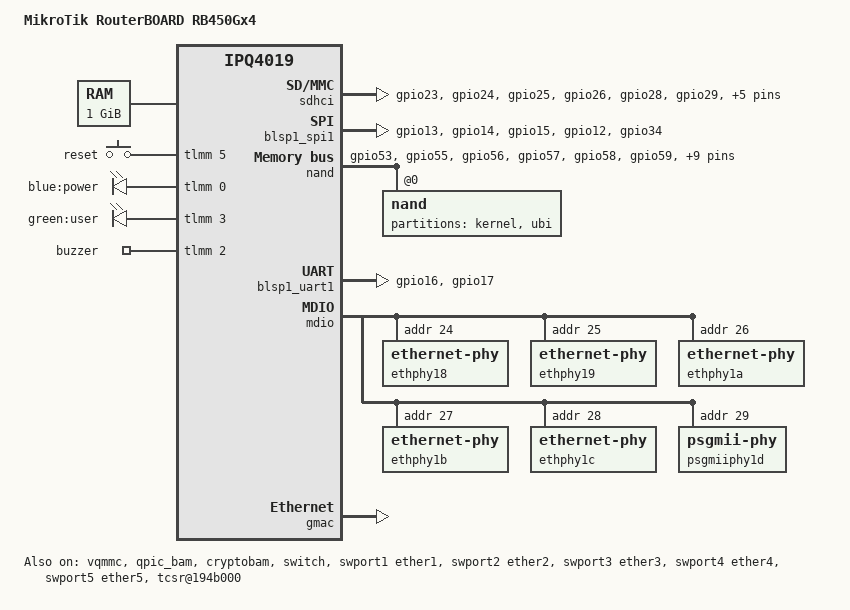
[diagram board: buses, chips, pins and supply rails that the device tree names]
// SPDX-License-Identifier: GPL-2.0-or-later OR MIT
/* Copyright (c) 2019, Robert Marko <robimarko@gmail.com> */

#include "qcom-ipq4019-mikrotik_nor.dtsi"
#include <dt-bindings/gpio/gpio.h>
#include <dt-bindings/input/input.h>
#include <dt-bindings/soc/qcom,tcsr.h>

/ {
	model = "MikroTik RouterBOARD RB450Gx4";
	compatible = "mikrotik,rb450gx4";

	memory {
		device_type = "memory";
		reg = <0x80000000 0x40000000>;
	};

	chosen {
		stdout-path = "serial0:115200n8";
	};

	aliases {
		led-boot = &led_user;
		led-failsafe = &led_user;
		led-running = &led_user;
		led-upgrade = &led_user;
	};

	soc {
		rng@22000 {
			status = "okay";
		};

		counter@4a1000 {
			compatible = "qcom,qca-gcnt";
			reg = <0x4a1000 0x4>;
		};

		tcsr@1949000 {
			compatible = "qcom,tcsr";
			reg = <0x1949000 0x100>;
			qcom,wifi_glb_cfg = <TCSR_WIFI_GLB_CFG>;
		};

		tcsr@194b000 {
			status = "okay";

			compatible = "qcom,tcsr";
			reg = <0x194b000 0x100>;
			qcom,usb-hsphy-mode-select = <TCSR_USB_HSPHY_HOST_MODE>;
		};

		ess_tcsr@1953000 {
			compatible = "qcom,tcsr";
			reg = <0x1953000 0x1000>;
			qcom,ess-interface-select = <TCSR_ESS_PSGMII>;
		};

		tcsr@1957000 {
			compatible = "qcom,tcsr";
			reg = <0x1957000 0x100>;
			qcom,wifi_noc_memtype_m0_m2 = <TCSR_WIFI_NOC_MEMTYPE_M0_M2>;
		};

		crypto@8e3a000 {
			status = "okay";
		};

		watchdog@b017000 {
			status = "okay";
		};
	};

	keys {
		compatible = "gpio-keys";

		reset {
			label = "reset";
			gpios = <&tlmm 5 GPIO_ACTIVE_HIGH>;
			linux,code = <KEY_RESTART>;
		};
	};

	leds {
		compatible = "gpio-leds";

		power {
			label = "blue:power";
			gpios = <&tlmm 0 GPIO_ACTIVE_HIGH>;
			default-state = "keep";
			panic-indicator;
		};

		led_user: user {
			label = "green:user";
			gpios = <&tlmm 3 GPIO_ACTIVE_HIGH>;
		};
	};

	gpio_export {
		compatible = "gpio-export";
		#size-cells = <0>;

		buzzer {
			/* Beeper requires PWM for frequency selection */
			gpio-export,name = "buzzer";
			gpio-export,output = <0>;
			gpios = <&tlmm 2 GPIO_ACTIVE_HIGH>;
		};
	};

	/*
	* gpio41 input port5 passive PoE goes low when unpowered passive PoE device present
	* gpio42 output port5 passive PoE powers when high
	*/

};

&vqmmc {
	status = "okay";
};

&sdhci {
	status = "okay";

	pinctrl-0 = <&sd_pins>;
	pinctrl-names = "default";
	cd-gpios = <&tlmm 22 GPIO_ACTIVE_LOW>;
	vqmmc-supply = <&vqmmc>;
};

&qpic_bam {
	status = "okay";
};

&tlmm {
	serial_pins: serial_pinmux {
		pins = "gpio16", "gpio17";
		function = "blsp_uart0";
		bias-disable;
	};

	spi_0_pins: spi_0_pinmux {
		pinmux {
			function = "blsp_spi0";
			pins = "gpio13", "gpio14", "gpio15";
			drive-strength = <12>;
			bias-disable;
		};

		pinmux_cs {
			function = "gpio";
			pins = "gpio12";
			drive-strength = <2>;
			bias-disable;
			output-high;
		};

		pinmux_cs_ts {
			function = "gpio";
			pins = "gpio34";
			drive-strength = <2>;
			bias-disable;
			output-high;
		};
	};

	nand_pins: nand_pins {
		pins = "gpio53", "gpio55", "gpio56",
			"gpio57", "gpio58", "gpio59",
			"gpio60", "gpio62", "gpio63",
			"gpio64", "gpio65", "gpio66",
			"gpio67", "gpio68", "gpio69";
		function = "qpic";
	};

	sd_pins: sd_pins {
		pinmux {
			function = "sdio";
			pins = "gpio23", "gpio24", "gpio25", "gpio26",
				"gpio28", "gpio29", "gpio30", "gpio31";
			drive-strength = <10>;
		};

		pinmux_sd_clk {
			function = "sdio";
			pins = "gpio27";
			drive-strength = <16>;
		};

		pinmux_sd7 {
			function = "sdio";
			pins = "gpio32";
			drive-strength = <10>;
			bias-disable;
		};
	};
};

&blsp_dma {
	status = "okay";
};

&blsp1_spi1 {
	status = "okay";

	pinctrl-0 = <&spi_0_pins>;
	pinctrl-names = "default";
	cs-gpios = <&tlmm 12 GPIO_ACTIVE_LOW>, <&tlmm 34 GPIO_ACTIVE_LOW>;
};

&flash0 {
	/* any faster and get SPI timeouts reading NOR */
	spi-max-frequency = <24000000>;
};

&nand {
	status = "okay";

	pinctrl-0 = <&nand_pins>;
	pinctrl-names = "default";

	nand@0 {
		partitions {
			compatible = "fixed-partitions";
			#address-cells = <1>;
			#size-cells = <1>;

			partition@0 {
				label = "kernel";
				reg = <0x000000 0x800000>;
			};

			partition@800000 {
				label = "ubi";
				reg = <0x800000 0x1f800000>;
			};
		};
	};
};

&blsp1_uart1 {
	status = "okay";

	pinctrl-0 = <&serial_pins>;
	pinctrl-names = "default";
};

&cryptobam {
	status = "okay";
};

&mdio {
	status = "okay";

	// Mikrotik rb450gx4 uses offset +0x18 MDIO regs for _some_ reason
	ethphy18: ethernet-phy@18 {
		reg = <0x18>;
	};

	ethphy19: ethernet-phy@19 {
		reg = <0x19>;
	};

	ethphy1a: ethernet-phy@1a {
		reg = <0x1a>;
	};

	ethphy1b: ethernet-phy@1b {
		reg = <0x1b>;
	};

	ethphy1c: ethernet-phy@1c {
		reg = <0x1c>;
	};

	psgmiiphy1d: psgmii-phy@1d {
		reg = <0x1d>;
		qcom,tx-driver-strength = <PSGMII_QSGMII_TX_DRIVER_300MV>;
	};
};

&gmac {
	status = "okay";
};

&switch {
	status = "okay";

	psgmii-ethphy = <&psgmiiphy1d>;
};

&swport1 {
	status = "okay";

	phy-handle = <&ethphy18>;
	label = "ether1";
};

&swport2 {
	status = "okay";

	phy-handle = <&ethphy19>;
	label = "ether2";
};

&swport3 {
	status = "okay";

	phy-handle = <&ethphy1a>;
	label = "ether3";
};

&swport4 {
	status = "okay";

	phy-handle = <&ethphy1b>;
	label = "ether4";
};

&swport5 {
	status = "okay";

	phy-handle = <&ethphy1c>;
	label = "ether5";
};
